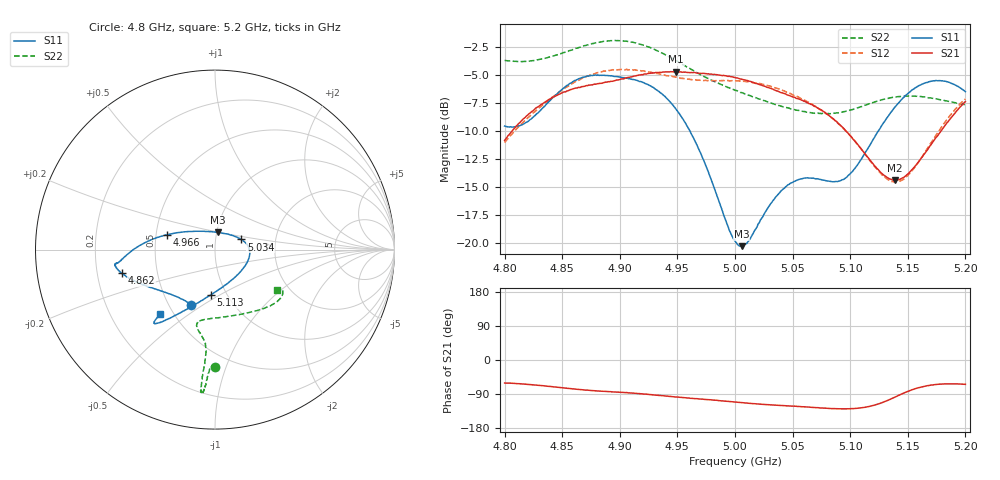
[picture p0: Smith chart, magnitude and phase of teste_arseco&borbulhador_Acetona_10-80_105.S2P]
! Network Analyzer HP8722D
! Hewlett-Packard
! Data name: Linha & Wilkinson
! Saver's name: Rodrigo Anjos
! Comments: Teste da utilização de aquisição
! continua pelo VNA HP8722D
! Time and date: 17/4/2025 15:14
!  Frequency  S11  S21  S12  S22
# HZ  S  MA R 50
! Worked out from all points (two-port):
!   401 points, 4.8 GHz to 5.2 GHz, reference 50 ohm
!   highest |S21| = -4.67 dB at 4.949 GHz (marker M1); lowest = -14.4 dB at 5.139 GHz (marker M2)
!   |S21| within 3 dB of the highest: 4.831 GHz to 5.068 GHz (236.6 MHz wide, 4.78 % of centre); 5.196941 GHz to end of sweep
!   lowest |S11| = -20.3 dB at 5.006 GHz (marker M3), VSWR 1.21, Z = 50.5 + j9.76 ohm
!   |S11| at or under -10 dB: 4.961 GHz to 5.124 GHz (163.3 MHz wide, 3.24 % of centre)
!   |S22| runs from -8.5 to -1.9 dB; largest |S21 - S12| = 0.88
!   S11 on the Smith chart (normalised r, x): 4.8 GHz: 0.65, -0.45; 4.862 GHz: 0.31, -0.11; 4.966 GHz: 0.57, +0.10; 5.034 GHz: 1.33, +0.15; 5.113 GHz: 0.84, -0.46; 5.2 GHz: 0.42, -0.39
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4.8e9  0.3335 -113.3  0.2876 -60.8  0.2816 -175.0  0.6558 -90.0
4.819e9  0.3469 -133.2  0.3697 -64.1  0.358 -173.5  0.6504 -91.7
4.862e9  0.535 -165.7  0.4934 -76.9  0.5287 -176.7  0.7428 -93.8
4.867e9  0.5486 -167.6  0.5006 -78.4  0.5437 -177.7  0.7563 -93.9
4.9e9  0.5523 -172.2  0.5378 -85.3  0.5961 175.8  0.8027 -95.3
4.934e9  0.4761 -177.9  0.5788 -93.6  0.572 171.9  0.7171 -95.7
4.949e9  0.3954 174.7  0.584 -97.5  0.5521 172.3  0.6539 -95.3
4.966e9  0.2807 162.9  0.5765 -102.0  0.5363 173.8  0.5814 -95.0
5e9  0.1019 102.0  0.5497 -111.0  0.5324 176.3  0.4817 -99.0
5.006e9  0.09678 81.2  0.5396 -112.6  0.5293 176.2  0.4703 -100.6
5.012e9  0.1023 61.7  0.5297 -114.1  0.5257 176.0  0.4576 -101.8
5.034e9  0.1568 21.1  0.4839 -119.1  0.4954 174.8  0.4178 -103.6
5.049e9  0.1857 5.7  0.4526 -121.6  0.4632 174.4  0.3971 -100.1
5.067e9  0.195 -13.5  0.4159 -124.9  0.4168 173.8  0.3814 -90.9
5.093e9  0.1918 -57.7  0.3304 -128.7  0.3286 174.0  0.3846 -70.6
5.113e9  0.2534 -95.1  0.2497 -124.7  0.2496 180.0  0.4133 -55.0
5.134e9  0.3752 -116.3  0.1937 -104.6  0.1906 -157.5  0.445 -43.0
5.139e9  0.4062 -119.2  0.1911 -97.7  0.1879 -149.7  0.4493 -40.8
5.151e9  0.4702 -124.3  0.2057 -81.8  0.2034 -131.1  0.4545 -36.3
5.17e9  0.5287 -128.8  0.2744 -66.3  0.2799 -112.5  0.4455 -31.9
5.184e9  0.5261 -130.1  0.3448 -62.9  0.3563 -107.2  0.4319 -30.9
5.2e9  0.4753 -130.5  0.4287 -64.2  0.4413 -106.4  0.4152 -33.2
